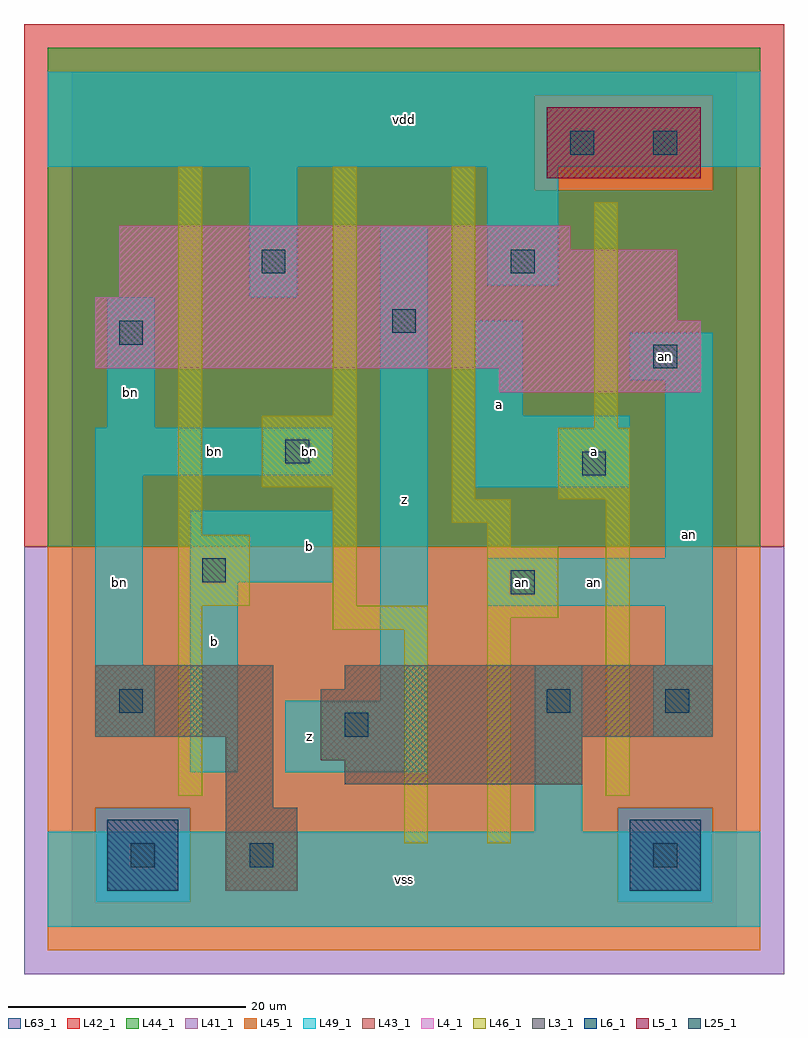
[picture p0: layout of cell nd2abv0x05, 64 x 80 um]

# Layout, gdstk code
import gdstk
lib = gdstk.Library(unit=1e-6, precision=1e-09)
def R(c, l, rs):  # rectangles x0, y0, x1, y1
    for r in rs: c.add(gdstk.rectangle(r[:2], r[2:], *l))
L3_1 = (3, 1)
L4_1 = (4, 1)
L5_1 = (5, 1)
L6_1 = (6, 1)
L25_1 = (25, 1)
L41_1 = (41, 1)
L42_1 = (42, 1)
L43_1 = (43, 1)
L44_1 = (44, 1)
L45_1 = (45, 1)
L46_1 = (46, 1)
L49_1 = (49, 1)
L63_1 = (63, 1)

nd2abv0x05 = lib.new_cell('nd2abv0x05')
R(nd2abv0x05, L3_1, [(13,3,19,10), (13,10,17,16), (23,12,43,14), (21,14,43,16), (2,16,17,22), (21,16,54,20), (23,20,54,22)])
R(nd2abv0x05, L4_1, [(36,45,53,47), (2,47,53,51), (2,51,51,53), (4,53,51,57), (4,57,42,59)])
R(nd2abv0x05, L5_1, [(40,63,53,69)])
R(nd2abv0x05, L6_1, [(3,3,9,9), (3,3,9,9), (47,3,53,9), (47,3,53,9)])
R(nd2abv0x05, L25_1, [(5,5,7,7), (15,5,17,7), (49,5,51,7), (23,16,25,18), (4,18,6,20), (40,18,42,20), (50,18,52,20), (37,28,39,30), (11,29,13,31), (43,38,45,40), (18,39,20,41), (49,47,51,49), (4,49,6,51), (27,50,29,52), (16,55,18,57), (37,55,39,57), (42,65,44,67), (49,65,51,67)])
R(nd2abv0x05, L41_1, [(-4,-4,60,32)])
R(nd2abv0x05, L42_1, [(-4,32,60,76)])
R(nd2abv0x05, L43_1, [(3,3,9,9), (13,3,19,10), (47,3,53,9), (13,10,17,16), (23,12,43,14), (21,14,43,16), (2,16,17,22), (21,16,54,20), (23,20,54,22), (36,45,53,47), (2,47,53,51), (2,51,51,53), (4,53,51,57), (4,57,42,59), (40,63,53,69)])
R(nd2abv0x05, L44_1, [(2,2,10,10), (46,2,54,10), (-2,32,58,62), (-2,62,39,70), (54,62,58,70), (-2,70,58,74)])
R(nd2abv0x05, L45_1, [(-2,-2,58,2), (-2,2,2,10), (10,2,46,10), (54,2,58,10), (-2,10,58,32), (39,62,54,70)])
R(nd2abv0x05, L46_1, [(28,7,30,25), (35,7,37,26), (9,11,11,27), (45,11,47,36), (22,25,30,27), (35,26,41,32), (9,27,15,33), (22,27,24,37), (35,32,37,34), (9,33,11,64), (32,34,37,36), (32,36,34,64), (41,36,47,42), (16,37,24,43), (44,42,46,61), (22,43,24,64)])
R(nd2abv0x05, L49_1, [(-2,0,58,8), (39,8,43,22), (10,13,14,29), (18,13,30,19), (2,16,7,22), (49,16,54,22), (26,19,30,59), (2,22,6,38), (50,22,54,27), (35,27,54,31), (10,29,22,35), (50,31,54,46), (34,37,47,43), (2,38,22,42), (3,42,7,53), (34,43,38,51), (47,46,54,50), (15,53,19,64), (35,54,41,64), (-2,64,58,72)])
R(nd2abv0x05, L63_1, [(0,0,56,72)])
nd2abv0x05.add(gdstk.Label('bn', (20,40), layer=49, texttype=1))
nd2abv0x05.add(gdstk.Label('an', (38,29), layer=49, texttype=1))
nd2abv0x05.add(gdstk.Label('bn', (5,45), layer=49, texttype=1))
nd2abv0x05.add(gdstk.Label('bn', (4,29), layer=49, texttype=1))
nd2abv0x05.add(gdstk.Label('z', (20,16), layer=49, texttype=1))
nd2abv0x05.add(gdstk.Label('b', (12,24), layer=49, texttype=1))
nd2abv0x05.add(gdstk.Label('b', (20,32), layer=49, texttype=1))
nd2abv0x05.add(gdstk.Label('bn', (12,40), layer=49, texttype=1))
nd2abv0x05.add(gdstk.Label('vss', (28,4), layer=49, texttype=1))
nd2abv0x05.add(gdstk.Label('z', (28,36), layer=49, texttype=1))
nd2abv0x05.add(gdstk.Label('a', (36,44), layer=49, texttype=1))
nd2abv0x05.add(gdstk.Label('vdd', (28,68), layer=49, texttype=1))
nd2abv0x05.add(gdstk.Label('an', (44,29), layer=49, texttype=1))
nd2abv0x05.add(gdstk.Label('a', (44,40), layer=49, texttype=1))
nd2abv0x05.add(gdstk.Label('an', (52,33), layer=49, texttype=1))
nd2abv0x05.add(gdstk.Label('an', (50,48), layer=49, texttype=1))

lib.write_gds('nd2abv0x05.gds')
